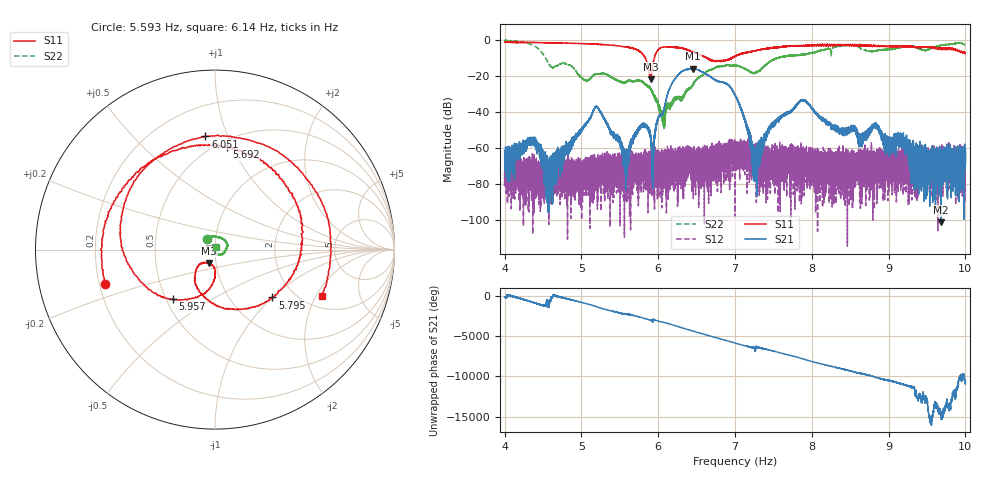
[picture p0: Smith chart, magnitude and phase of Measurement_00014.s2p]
!Created with skrf (http://scikit-rf.org).
# Hz S RI R 50.0
!freq ReS11 ImS11 ReS21 ImS21 ReS12 ImS12 ReS22 ImS22
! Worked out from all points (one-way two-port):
!   14001 points, 4 Hz to 10 Hz, reference 50 ohm
!   highest |S21| = -15.89 dB at 6.453 Hz (marker M1); lowest = -101.2 dB at 9.682 Hz (marker M2)
!   lowest |S11| = -21.8 dB at 5.901 Hz (marker M3), VSWR 1.18, Z = 46.3 - j6.88 ohm
!   |S11| at or under -10 dB: 5.833 Hz to 5.949 Hz (116 mHz wide, 1.97 % of centre); 6.630254 Hz to 6.636123 Hz (5.869 mHz wide, 0.0885 % of centre); 6.645 Hz to 6.957 Hz (312.1 mHz wide, 4.59 % of centre) (the widest 3 of 10)
!   |S22| runs from -48.9 to -0.2 dB; largest |S21 - S12| = 0.16
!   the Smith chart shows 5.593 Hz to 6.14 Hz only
!   S11 on the Smith chart (normalised r, x): 5.593 Hz: 0.22, -0.15; 5.692 Hz: 0.56, +0.95; 5.795 Hz: 1.55, -1.00; 5.957 Hz: 0.54, -0.35; 6.051 Hz: 0.40, +0.84; 6.14 Hz: 2.53, -2.24
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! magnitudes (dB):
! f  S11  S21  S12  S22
! 4 Hz  -1.2  -61.4  -73.8  -0.2
! 4.366 Hz  -1.3  -53.9  -107.7  -2.8
! 4.578 Hz  -1.5  -74.5  -82.6  -13.3
! 5 Hz  -1.9  -49.7  -86.7  -20.7
! 5.206 Hz  -2.3  -37.4  -69.6  -18.9
! 5.593 Hz  -3.8  -64.4  -72.5  -22.7
! 5.692 Hz  -4.8  -53.8  -77.0  -22.5
! 5.795 Hz  -7.6  -48.4  -67.7  -23.2
! 5.901 Hz  -21.8  -53.4  -78.9  -26.9
! 5.957 Hz  -8.8  -51.2  -73.0  -32.0
! 6 Hz  -5.3  -43.1  -66.3  -35.0
! 6.051 Hz  -4.0  -41.4  -73.3  -43.2
! 6.14 Hz  -3.8  -27.8  -72.0  -35.8
! 6.453 Hz  -6.7  -15.9  -67.6  -24.7
! 7 Hz  -9.0  -30.4  -62.7  -14.0
! 7.262 Hz  -5.9  -68.7  -62.7  -17.9
! 7.57 Hz  -3.9  -44.1  -61.0  -9.7
! 8 Hz  -3.0  -37.4  -80.7  -6.9
! 8.836 Hz  -3.1  -47.2  -71.5  -5.8
! 9 Hz  -3.6  -56.3  -65.3  -5.0
! 9.682 Hz  -4.5  -101.2  -64.5  -2.9
! 10 Hz  -7.2  -61.1  -65.6  -3.1
